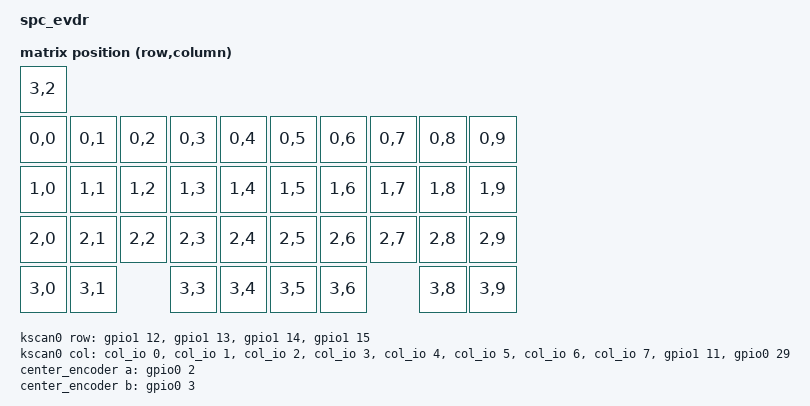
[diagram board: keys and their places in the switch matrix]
/*
 * Copyright (c) 2022 @weteor
 *
 * SPDX-License-Identifier: MIT
 */

/dts-v1/;
#include <nordic/nrf52840_qiaa.dtsi>
#include <dt-bindings/zmk/matrix_transform.h>

/ {
	model = "spc_evdr";
	compatible = "weteor,spc_evdr";

	chosen {
		zephyr,code-partition = &code_partition;
		zephyr,sram = &sram0;
		zephyr,flash = &flash0;
		zephyr,display = &oled;
		zmk,kscan = &kscan0;
		zmk,matrix_transform = &default_transform;
		zmk,battery = &vbatt;
	};

	default_transform: keymap_transform_0 {
		compatible = "zmk,matrix-transform";
		rows = <4>;
		columns = <10>;
		map = <
		RC(3,2)
		RC(0,0) RC(0,1) RC(0,2) RC(0,3) RC(0,4)   RC(0,5) RC(0,6) RC(0,7) RC(0,8) RC(0,9)
		RC(1,0) RC(1,1) RC(1,2) RC(1,3) RC(1,4)   RC(1,5) RC(1,6) RC(1,7) RC(1,8) RC(1,9)
		RC(2,0) RC(2,1) RC(2,2) RC(2,3) RC(2,4)   RC(2,5) RC(2,6) RC(2,7) RC(2,8) RC(2,9)
		RC(3,0) RC(3,1)         RC(3,3) RC(3,4)   RC(3,5) RC(3,6)         RC(3,8) RC(3,9)
		>;
	};

	kscan0: kscan {
		compatible = "zmk,kscan-gpio-matrix";
		label = "KSCAN";

		diode-direction = "col2row";
		col-gpios
			= <&col_io 0 GPIO_ACTIVE_HIGH>
			, <&col_io 1 GPIO_ACTIVE_HIGH>
			, <&col_io 2 GPIO_ACTIVE_HIGH>
			, <&col_io 3 GPIO_ACTIVE_HIGH>
			, <&col_io 4 GPIO_ACTIVE_HIGH>
			, <&col_io 5 GPIO_ACTIVE_HIGH>
			, <&col_io 6 GPIO_ACTIVE_HIGH>
			, <&col_io 7 GPIO_ACTIVE_HIGH>
			, <&gpio1 11 GPIO_ACTIVE_HIGH>
			, <&gpio0 29 GPIO_ACTIVE_HIGH>
			;
		row-gpios
			= <&gpio1 12 (GPIO_ACTIVE_HIGH | GPIO_PULL_DOWN)>
			, <&gpio1 13 (GPIO_ACTIVE_HIGH | GPIO_PULL_DOWN)>
			, <&gpio1 14 (GPIO_ACTIVE_HIGH | GPIO_PULL_DOWN)>
			, <&gpio1 15 (GPIO_ACTIVE_HIGH | GPIO_PULL_DOWN)>
			;
	};

	center_encoder: encoder_center {
		compatible = "alps,ec11";
		label = "CENTER_ENCODER";
		a-gpios = <&gpio0 2 (GPIO_ACTIVE_HIGH | GPIO_PULL_UP)>;
		b-gpios = <&gpio0 3 (GPIO_ACTIVE_HIGH | GPIO_PULL_UP)>;
		resolution = <2>;
		status = "okay";
	};

	sensors: sensors {
		compatible = "zmk,keymap-sensors";
		status = "okay";
        sensors = <&center_encoder>;
	};

	vbatt: vbatt {
		compatible = "zmk,battery-voltage-divider";
		label = "BATTERY";
		io-channels = <&adc 7>;
		output-ohms = <2000000>;
		full-ohms = <(2000000 + 820000)>;
	};
};

&adc {
	status = "okay";
};

&gpiote {
	status = "okay";
};

&gpio0 {
	status = "okay";
};

&gpio1 {
	status = "okay";
};

&usbd {
	status = "okay";
};

&i2c0 {
	status = "okay";
	compatible = "nordic,nrf-twi";
	sda-pin = <4>;
	scl-pin = <5>;
	clock-frequency = <I2C_BITRATE_FAST>;
	
	oled: ssd1306@3c {
		compatible = "solomon,ssd1306fb";
		reg = <0x3c>;
		label = "DISPLAY";
		width = <128>;
		height = <32>;
		segment-offset = <0>;
		page-offset = <0>;
		display-offset = <0>;
		multiplex-ratio = <31>;
		segment-remap;
		com-invdir;
		com-sequential;
		prechargep = <0x22>;
	};
	col_io: pca95xx@20 {
	    compatible = "nxp,pca95xx";
	    gpio-controller;
	    reg = <0x20>;
	    label = "COL_IO";
	    #gpio-cells = <2>;
	    ngpios = <8>;
	};
};

&flash0 {
	/*
	 * For more information, see:
	 * http://docs.zephyrproject.org/latest/devices/dts/flash_partitions.html
	 */
	partitions {
		compatible = "fixed-partitions";
		#address-cells = <1>;
		#size-cells = <1>;

		sd_partition: partition@0 {
			label = "mbr";
			reg = <0x00000000 0x00001000>;
		};
		code_partition: partition@1000 {
			label = "code_partition";
			reg = <0x00001000 0x000d3000>;
		};

		storage_partition: partition@d4000 {
			label = "storage";
			reg = <0x000d4000 0x00020000>;
		};

		boot_partition: partition@f4000 {
			label = "adafruit_boot";
			reg = <0x000f4000 0x0000c000>;
		};
	};
};
